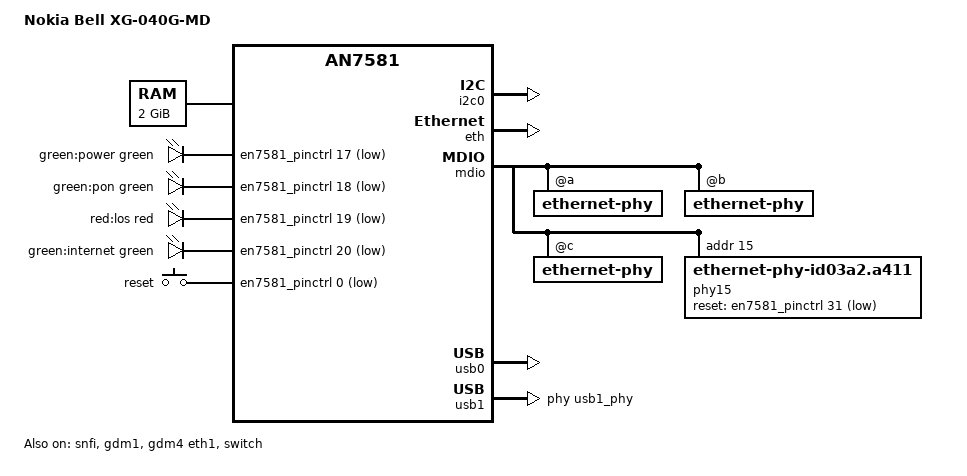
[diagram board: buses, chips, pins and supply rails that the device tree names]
// SPDX-License-Identifier: (GPL-2.0-only OR BSD-2-Clause)
/dts-v1/;

#include <dt-bindings/leds/common.h>
#include <dt-bindings/gpio/gpio.h>
#include <dt-bindings/input/input.h>
#include "an7581.dtsi"

/ {
	model = "Nokia Bell XG-040G-MD";
	compatible = "bell,xg-040g-md", "airoha,an7581";

	aliases {
		serial0 = &uart1;
	};

	chosen {
		bootargs = "ubi.mtd=ubi root=ubi0:rootfs rootfstype=squashfs ro rootwait console=ttyS0,115200 earlycon";
		stdout-path = "serial0:115200n8";
		linux,usable-memory-range = <0x0 0x80200000 0x0 0x1fe00000>;
	};

	memory@80000000 {
		device_type = "memory";
		reg = <0x0 0x80000000 0x0 0x80000000>;
	};

	efuse-banks {
		compatible = "airoha,an7581-efuses";
		#address-cells = <1>;
		#size-cells = <0>;

		bank@0 {
			reg = <0>;
		};

		bank@1 {
			reg = <1>;
		};
	};

	leds {
		compatible = "gpio-leds";

		pwr_led: led-0 {
			label = "green:power";
			color = <LED_COLOR_ID_GREEN>;
			function = LED_FUNCTION_POWER;
			gpios = <&en7581_pinctrl 17 GPIO_ACTIVE_LOW>;
			linux,default-trigger = "default-on";
		};

		pon_led: led-1 {
			label = "green:pon";
			color = <LED_COLOR_ID_GREEN>;
			function = LED_FUNCTION_STATUS;
			gpios = <&en7581_pinctrl 18 GPIO_ACTIVE_LOW>;
		};

		los_led: led-2 {
			label = "red:los";
			color = <LED_COLOR_ID_RED>;
			function = LED_FUNCTION_STATUS;
			gpios = <&en7581_pinctrl 19 GPIO_ACTIVE_LOW>;
		};

		internet_led: led-3 {
			label = "green:internet";
			color = <LED_COLOR_ID_GREEN>;
			function = LED_FUNCTION_STATUS;
			gpios = <&en7581_pinctrl 20 GPIO_ACTIVE_LOW>;
		};
	};

	keys {
		compatible = "gpio-keys";

		reset {
			label = "reset";
			gpios = <&en7581_pinctrl 0 GPIO_ACTIVE_LOW>;
			linux,code = <KEY_RESTART>;
			debounce-interval = <60>;
		};
	};
};

&en7581_pinctrl {
	gpio-ranges = <&en7581_pinctrl 0 13 47>;

	mdio_pins: mdio-pins {
		mux {
			function = "mdio";
			groups = "mdio";
		};

		conf {
			pins = "gpio2";
			output-high;
		};
	};

	gswp2_led0_pins: gswp2-led0-pins {
		mux {
			pins = "gpio34";
			function = "phy2_led0";
		};
	};

	gswp3_led0_pins: gswp3-led0-pins {
		mux {
			pins = "gpio35";
			function = "phy3_led0";
		};
	};

	gswp4_led0_pins: gswp4-led0-pins {
		mux {
			pins = "gpio42";
			function = "phy4_led0";
		};
	};
};

&snfi {
	status = "okay";
};

&spi_nand {
	partitions {
		compatible = "fixed-partitions";
		#address-cells = <1>;
		#size-cells = <1>;

		partition@0 {
			label = "bootloader";
			reg = <0x00000000 0x00080000>;
		};

		partition@80000 {
			label = "env";
			reg = <0x00080000 0x00080000>;
		};

		partition@100000 {
			label = "ubi";
			reg = <0x00100000 0x0ff00000>;
		};
	};
};

&i2c0 {
	status = "okay";
};

&eth {
	status = "okay";
};

&gdm1 {
	status = "okay";
};

&gdm4 {
	status = "okay";
	phy-handle = <&phy15>;
	phy-mode = "2500base-x";
	label = "eth1";
};

&switch {
	status = "okay";
	pinctrl-names = "default";
	pinctrl-0 = <&mdio_pins>;

	ports {
		port@2 {
			status = "okay";
			label = "lan2";
		};

		port@3 {
			status = "okay";
			label = "lan3";
		};

		port@4 {
			status = "okay";
			label = "lan4";
		};
	};

	mdio {
		ethernet-phy@a {
			status = "okay";
			pinctrl-names = "gbe-led";
			pinctrl-0 = <&gswp2_led0_pins>;

			leds {
				led@0 {
					status = "okay";
					active-low;
					function = LED_FUNCTION_LAN;
					color = <LED_COLOR_ID_GREEN>;
				};
			};
		};

		ethernet-phy@b {
			status = "okay";
			pinctrl-names = "gbe-led";
			pinctrl-0 = <&gswp3_led0_pins>;

			leds {
				led@0 {
					status = "okay";
					active-low;
					function = LED_FUNCTION_LAN;
					color = <LED_COLOR_ID_GREEN>;
				};
			};
		};

		ethernet-phy@c {
			status = "okay";
			pinctrl-names = "gbe-led";
			pinctrl-0 = <&gswp4_led0_pins>;

			leds {
				led@0 {
					status = "okay";
					active-low;
					function = LED_FUNCTION_LAN;
					color = <LED_COLOR_ID_GREEN>;
				};
			};
		};

		phy15: ethernet-phy@f {
			compatible = "ethernet-phy-id03a2.a411", "ethernet-phy-ieee802.3-c45";
			reg = <15>;

			reset-gpios = <&en7581_pinctrl 31 GPIO_ACTIVE_LOW>;
			reset-assert-us = <10000>;
			reset-deassert-us = <2000000>;

			leds {
				#address-cells = <1>;
				#size-cells = <0>;

				led@0 {
					reg = <0>;
					function = LED_FUNCTION_LAN;
					color = <LED_COLOR_ID_GREEN>;
				};
			};
		};
	};
};

&usb0 {
	status = "okay";
};

&usb1 {
	status = "okay";
	phys = <&usb1_phy PHY_TYPE_USB2>;
	mediatek,u3p-dis-msk = <0x1>;
};
